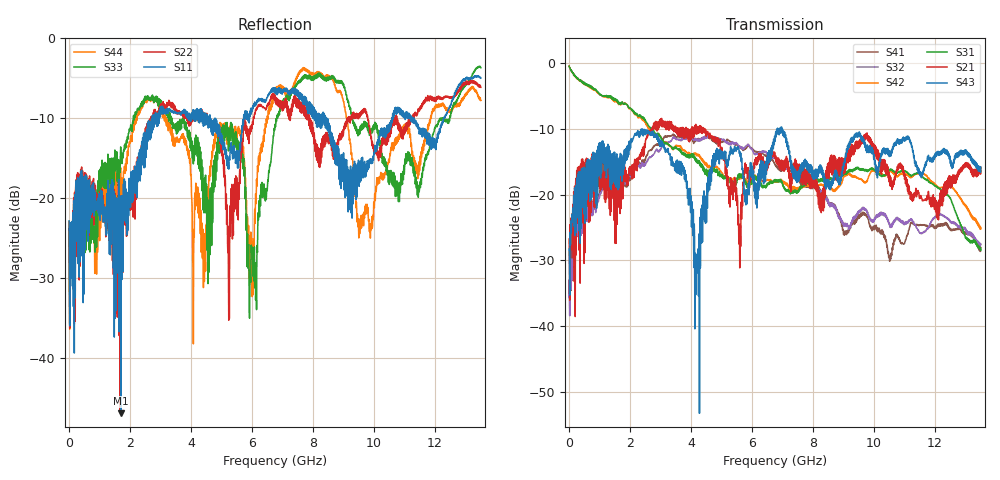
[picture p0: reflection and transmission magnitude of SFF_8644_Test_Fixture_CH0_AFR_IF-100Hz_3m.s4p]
!Keysight Technologies,N5231B,MY57181281,A.17.25.05
!Date: Friday, March 07, 2025 16:19:33
!Correction: S11(C  4-Port  )
!S12(C  4-Port  )
!S13(C  4-Port  )
!S14(C  4-Port  )
!S21(C  4-Port  )
!S22(C  4-Port  )
!S23(C  4-Port  )
!S24(C  4-Port  )
!S31(C  4-Port  )
!S32(C  4-Port  )
!S33(C  4-Port  )
!S34(C  4-Port  )
!S41(C  4-Port  )
!S42(C  4-Port  )
!S43(C  4-Port  )
!S44(C  4-Port  )
!S4P File: Measurements: <S11,S12,S13,S14>,
!<S21,S22,S23,S24>,
!<S31,S32,S33,S34>,
!<S41,S42,S43,S44>:
# Hz S  dB  R 50
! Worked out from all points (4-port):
!   1350 points, 10 MHz to 13.5 GHz, reference 50 ohm
!   strongest paths, dB at 10 MHz, 3.38 GHz, 6.76 GHz, 10.13 GHz, 13.5 GHz:
!     S43: -28.3, -14.3, -11.9, -15.8, -15.9
!     S21: -26.8, -10.1, -14.5, -13.2, -15.9
!     S31: -0.5, -12.9, -17.7, -16.8, -28.5
!     S42: -0.5, -13.0, -18.0, -16.7, -25.2
!     S32: -35.7, -11.7, -14.6, -23.4, -27.5
!     S41: -35.5, -11.0, -15.5, -25.4, -28.1
!   lowest |S11| = -47.0 dB at 1.71 GHz (marker M1), VSWR 1.01, Z = 50.4 + j0.215 ohm
!   |S11| at or under -10 dB: start of sweep to 2.738 GHz; 8.431 GHz to 10.58 GHz (2.148 GHz wide, 22.6 % of centre); 11.3 GHz to 12.28 GHz (976.7 MHz wide, 8.28 % of centre)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
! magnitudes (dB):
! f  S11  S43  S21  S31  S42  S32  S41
! 10 MHz  -22.9  -28.3  -26.8  -0.5  -0.5  -35.7  -35.5
! 1.71 GHz  -47.0  -17.0  -22.1  -6.1  -6.2  -17.0  -17.1
! 5.33 GHz  -14.2  -13.0  -17.8  -18.3  -17.8  -12.0  -12.0
! 6.09 GHz  -8.0  -20.5  -15.3  -17.7  -17.0  -13.8  -13.4
! 7.68 GHz  -7.3  -15.2  -16.0  -18.7  -18.6  -17.1  -18.8
! 9.53 GHz  -15.8  -10.9  -12.8  -16.1  -17.6  -22.4  -23.1
! 13.5 GHz  -5.0  -15.9  -15.9  -28.5  -25.2  -27.5  -28.1
